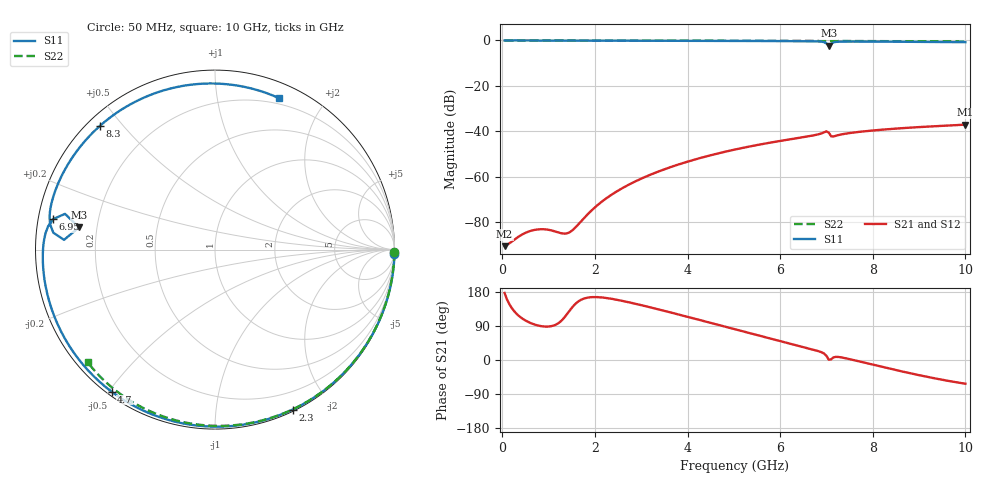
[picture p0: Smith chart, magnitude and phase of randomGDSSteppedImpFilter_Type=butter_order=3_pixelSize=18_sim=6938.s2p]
! freq	dB(S11)	phase(S11)	dB(S12)	phase(S12)
!  dB(S21)	phase(S21)	dB(S22)	phase(S22)
!S-par simulation data
#  GHz  S  DB  R 50
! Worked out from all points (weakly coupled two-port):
!   200 points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, 50 MHz to 10 GHz, reference 50 ohm
!   highest |S21| = -37.02 dB at 10 GHz (marker M1); lowest = -90.5 dB at 50 MHz (marker M2)
!   lowest |S11| = -2.3 dB at 7.05 GHz (marker M3), VSWR 7.61, Z = 6.61 + j3.98 ohm
!   |S11| at or under -10 dB: nowhere
!   |S22| runs from -0.5 to 0.0 dB; largest |S21 - S12| = 0
!   S11 on the Smith chart (normalised r, x): 50 MHz: 0, -80; 2.3 GHz: 0.02, -1.60; 4.7 GHz: 0.01, -0.51; 6.95 GHz: 0.04, +0.09; 8.3 GHz: 0.04, +0.44; 10 GHz: 0.14, +1.49
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0.05  -0.00 -1.4  -90.46 176.8  -90.46 176.8  -0.00 -0.8
0.85  -0.03 -24.2  -83.00 89.1  -83.00 89.1  -0.02 -13.5
1.65  -0.06 -46.5  -80.68 155.2  -80.68 155.2  -0.03 -26.1
1.75  -0.06 -49.2  -78.43 161.5  -78.43 161.5  -0.04 -27.6
2.3  -0.08 -64.1  -68.64 162.7  -68.64 162.7  -0.05 -36.1
2.8  -0.10 -77.3  -62.70 150.5  -62.70 150.5  -0.06 -43.6
3.4  -0.12 -92.9  -57.41 132.7  -57.41 132.7  -0.07 -52.6
4.7  -0.18 -126.0  -49.47 91.5  -49.47 91.5  -0.11 -71.1
5.05  -0.21 -135.0  -47.85 80.2  -47.85 80.2  -0.12 -76.0
5.95  -0.27 -158.5  -44.35 51.4  -44.35 51.4  -0.15 -88.1
6.7  -0.37 179.8  -41.81 27.6  -41.81 27.6  -0.19 -97.9
6.95  -0.75 169.3  -40.40 17.0  -40.40 17.0  -0.20 -101.1
7  -1.32 166.6  -39.97 10.9  -39.97 10.9  -0.21 -101.7
7.05  -2.30 170.7  -40.52 0.6  -40.52 0.6  -0.21 -102.3
7.1  -1.49 176.3  -42.12 1.6  -42.12 1.6  -0.21 -103.0
7.15  -0.86 174.0  -42.22 6.7  -42.22 6.7  -0.22 -103.6
7.3  -0.50 167.0  -41.40 7.3  -41.40 7.3  -0.23 -105.5
7.8  -0.47 149.8  -39.99 -6.4  -39.99 -6.4  -0.26 -111.7
8.3  -0.53 132.8  -39.07 -20.9  -39.07 -20.9  -0.30 -117.9
8.35  -0.53 131.1  -38.99 -22.3  -38.99 -22.3  -0.30 -118.5
9.2  -0.64 99.7  -37.87 -45.1  -37.87 -45.1  -0.38 -128.8
10  -0.76 67.3  -37.02 -62.7  -37.02 -62.7  -0.47 -138.5
